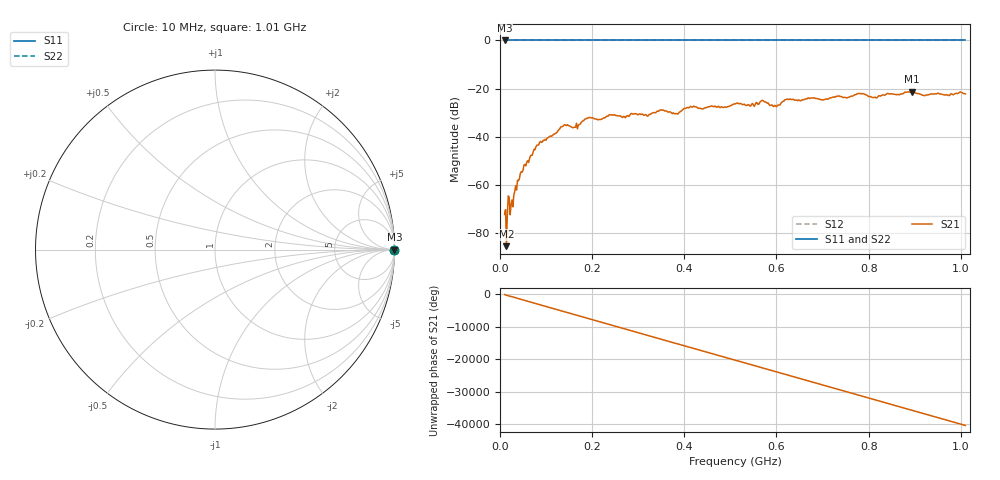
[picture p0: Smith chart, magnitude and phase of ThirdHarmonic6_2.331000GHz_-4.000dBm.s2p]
! 8/17/2025 3:22:27 AM
! C:\ANRITSUVNA\TEMP\TEMP.S2P
! CHANNEL.1
! TR.MEASUREMENT
! RAW.DATA
! RF.CORRECTION.OFF
! AVERAGING.OFF
! IF.BANDWIDTH: 5KHZ
! SWEEPTYPE:  FREQ.SWEEP(Linear)
! Reference Plane Port Info
! PORT:  PORT1  PORT2
! DISTANCE:  0  m  0  m
! TIME:  0  s  0  s
! PHASE.OFFSET:  0  deg.  0  deg.
! LOSS:  0  dB  0  dB
! REF.LOSS:  0  dB  0  dB
! REF.FREQ:  0  Hz  0  Hz
! Power Info
! POWER:  -20  dBm  -20  dBm
! EFF.POWER:  -20  dBm  -20  dBm
! SOURCE.ATTEN:  0  dB  0  dB
! TEST.ATTEN:  0  dB  0  dB
# GHZ S RI R 50.0
! FREQ.GHZ  S11RE  S11IM  S21RE  S21IM  S12RE  S12IM  S22RE  S22IM
!; PortSelection: Port_12
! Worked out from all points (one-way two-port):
!   501 points, 10 MHz to 1.01 GHz, reference 50 ohm
!   highest |S21| = -21.32 dB at 894 MHz (marker M1); lowest = -85.5 dB at 14 MHz (marker M2)
!   lowest |S11| = 0.0 dB at 10 MHz (marker M3)
!   |S11| at or under -10 dB: nowhere
!   |S22| runs from 0.0 to 0.0 dB; largest |S21 - S12| = 1.1
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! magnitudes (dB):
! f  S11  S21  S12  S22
! 10 MHz  0.0  -72.4  0.0  0.0
! 14 MHz  0.0  -85.5  0.0  0.0
! 22 MHz  0.0  -72.5  0.0  0.0
! 26 MHz  0.0  -66.3  0.0  0.0
! 34 MHz  0.0  -60.4  0.0  0.0
! 48 MHz  0.0  -54.7  0.0  0.0
! 82 MHz  0.0  -43.5  0.0  0.0
! 136 MHz  0.0  -35.8  0.0  0.0
! 160 MHz  0.0  -36.2  0.0  0.0
! 178 MHz  0.0  -33.7  0.0  0.0
! 194 MHz  0.0  -32.0  0.0  0.0
! 344 MHz  0.0  -29.5  0.0  0.0
! 382 MHz  0.0  -30.4  0.0  0.0
! 416 MHz  0.0  -27.7  0.0  0.0
! 510 MHz  0.0  -26.4  0.0  0.0
! 570 MHz  0.0  -24.9  0.0  0.0
! 596 MHz  0.0  -27.0  0.0  0.0
! 622 MHz  0.0  -24.5  0.0  0.0
! 678 MHz  0.0  -23.9  0.0  0.0
! 844 MHz  0.0  -22.2  0.0  0.0
! 894 MHz  0.0  -21.3  0.0  0.0
! 1.01 GHz  0.0  -22.2  0.0  0.0
